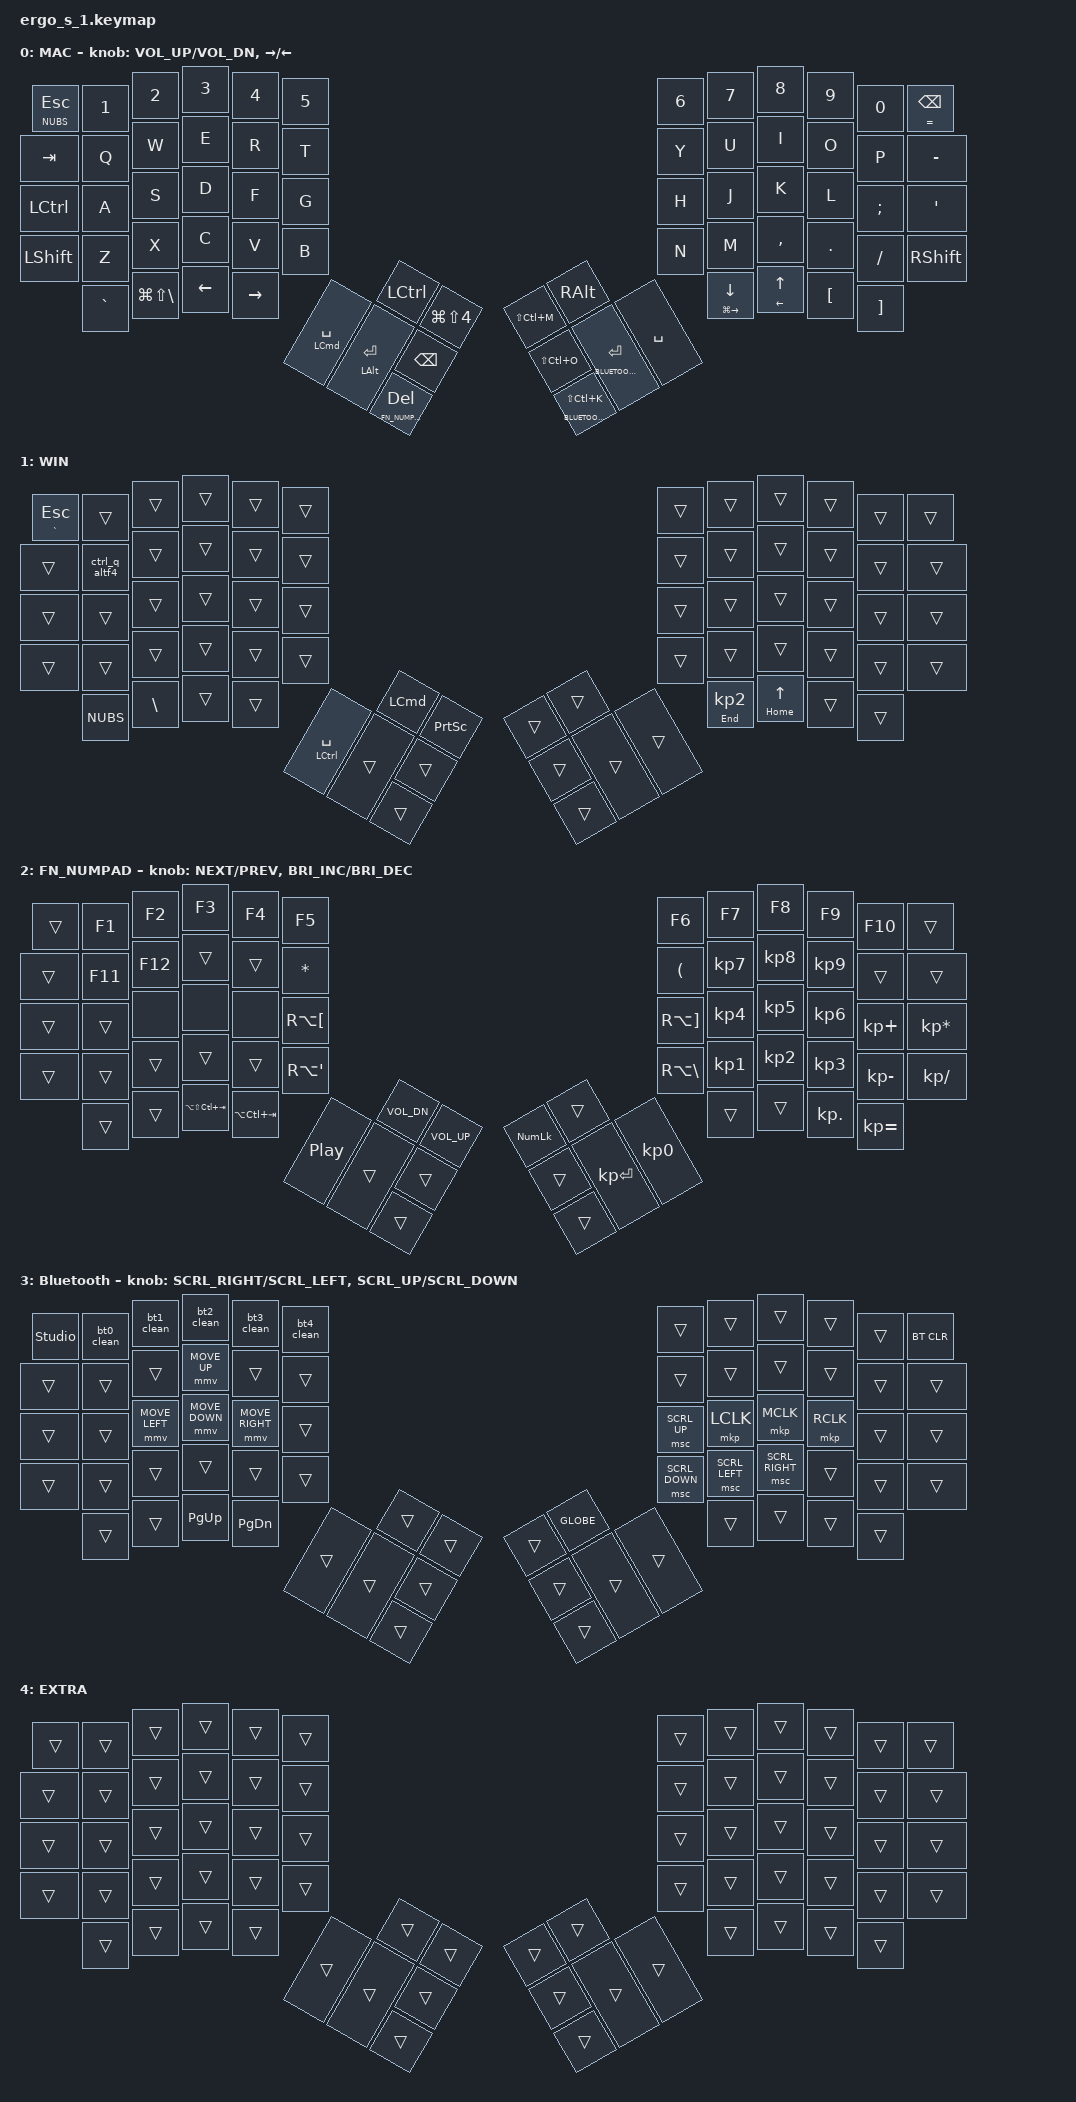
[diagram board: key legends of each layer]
/*
 * Copyright (c) 2021 The ZMK Contributors
 *
 * SPDX-License-Identifier: MIT
 *
 * ERGO S-1 — capas exportadas desde ZMK Studio (2026-09-23) combinadas con
 * combos, behaviors, macros, sensor-bindings y ajustes del keymap del 2026-05-05.
 */

// Velocidades que usa el firmware actual (leídas del teclado): 2000 para mover, 30 para scroll
#define ZMK_POINTING_DEFAULT_MOVE_VAL 2000
#define ZMK_POINTING_DEFAULT_SCRL_VAL 30

#include <behaviors.dtsi>
#include <dt-bindings/zmk/bt.h>
#include <dt-bindings/zmk/keys.h>
#include <dt-bindings/zmk/pointing.h>

#define MAC       0
#define WIN       1
#define FN_NUMPAD 2
#define BLUETOOTH 3
#define EXTRA     4

&mt {
    tapping-term-ms = <200>;
    flavor = "balanced";
    quick-tap-ms = <175>;
};

/ {
    combos {
        compatible = "zmk,combos";

        combo_backspace {
            timeout-ms = <50>;
            key-positions = <31 32>;
            bindings = <&kp BSPC>;
            layers = <MAC WIN>;
        };

        combo_escape {
            timeout-ms = <50>;
            key-positions = <26 27 28>;
            bindings = <&kp ESCAPE>;
            layers = <MAC WIN>;
        };

        combo_mac_app_left {
            bindings = <&kp LC(F4)>;
            key-positions = <40 39>;
            timeout-ms = <50>;
            layers = <MAC>;
        };

        combo_mac_app_right {
            bindings = <&kp LS(LC(F4))>;
            key-positions = <38 39>;
            timeout-ms = <50>;
            layers = <MAC>;
        };

        combo_win_app_left {
            bindings = <&kp LG(LA(LC(TAB)))>;
            key-positions = <40 39>;
            layers = <WIN>;
            timeout-ms = <50>;
        };

        combo_win_app_right {
            bindings = <&kp LS(LG(LA(LC(TAB))))>;
            key-positions = <39 38>;
            layers = <WIN>;
            timeout-ms = <50>;
        };

        combo_toggle_mac_win {
            bindings = <&tog WIN>;
            key-positions = <0 11>;
        };

        combo_tab {
            bindings = <&kp TAB>;
            key-positions = <28 27>;
            layers = <MAC WIN>;
        };

        combo_caps_word {
            bindings = <&kp CAPSLOCK>;
            key-positions = <36 47>;
            layers = <MAC WIN>;
        };
    };

    behaviors {
        inc_dec_msc: inc_dec_msc {
            compatible = "zmk,behavior-sensor-rotate-var";
            #sensor-binding-cells = <2>;
            bindings = <&msc>, <&msc>;

            tap-ms = <20>;
        };

        gresc_mac: grave_escape_mac {
            compatible = "zmk,behavior-mod-morph";
            #binding-cells = <0>;
            bindings = <&kp ESC>, <&kp NON_US_BSLH>;
            mods = <(MOD_LALT)>;
        };

        gresc_win: grave_escape_win {
            compatible = "zmk,behavior-mod-morph";
            #binding-cells = <0>;
            bindings = <&kp ESC>, <&kp GRAVE>;
            mods = <(MOD_LALT)>;
        };

        bspc_del: backspace_delete {
            compatible = "zmk,behavior-mod-morph";
            #binding-cells = <0>;
            bindings = <&kp BACKSPACE>, <&kp DELETE>;

            mods = <(MOD_LSFT|MOD_RSFT)>;
        };

        ctrl_q_altf4: ctrl_q_altf4 {
            compatible = "zmk,behavior-mod-morph";
            #binding-cells = <0>;
            bindings = <&kp Q>, <&kp LA(F4)>;

            mods = <(MOD_LCTL|MOD_RCTL)>;
        };

        sk: sticky_key {
            compatible = "zmk,behavior-sticky-key";
            #binding-cells = <1>;
            quick-release;
        };

    };

    macros {
        // Macro para limpiar conexiones Bluetooth antes de cambiar de perfil
        bt0_clean: bt0_clean {
            compatible = "zmk,behavior-macro";
            #binding-cells = <0>;
            wait-ms = <10>;
            tap-ms = <10>;
            bindings
                = <&bt BT_DISC 0>
                , <&bt BT_DISC 1>
                , <&bt BT_DISC 2>
                , <&bt BT_DISC 3>
                , <&bt BT_DISC 4>
                , <&bt BT_SEL 0>; // Seleccionar perfil 0
        };
        bt1_clean: bt1_clean {
            compatible = "zmk,behavior-macro";
            #binding-cells = <0>;
            wait-ms = <10>;
            tap-ms = <10>;
            bindings
                = <&bt BT_DISC 0>
                , <&bt BT_DISC 1>
                , <&bt BT_DISC 2>
                , <&bt BT_DISC 3>
                , <&bt BT_DISC 4>
                , <&bt BT_SEL 1>; // Seleccionar perfil 1
        };
        bt2_clean: bt2_clean {
            compatible = "zmk,behavior-macro";
            #binding-cells = <0>;
            wait-ms = <10>;
            tap-ms = <10>;
            bindings
                = <&bt BT_DISC 0>
                , <&bt BT_DISC 1>
                , <&bt BT_DISC 2>
                , <&bt BT_DISC 3>
                , <&bt BT_DISC 4>
                , <&bt BT_SEL 2>; // Seleccionar perfil 2
        };
        bt3_clean: bt3_clean {
            compatible = "zmk,behavior-macro";
            #binding-cells = <0>;
            wait-ms = <10>;
            tap-ms = <10>;
            bindings
                = <&bt BT_DISC 0>
                , <&bt BT_DISC 1>
                , <&bt BT_DISC 2>
                , <&bt BT_DISC 3>
                , <&bt BT_DISC 4>
                , <&bt BT_SEL 3>; // Seleccionar perfil 3
        };
        bt4_clean: bt4_clean {
            compatible = "zmk,behavior-macro";
            #binding-cells = <0>;
            wait-ms = <10>;
            tap-ms = <10>;
            bindings
                = <&bt BT_DISC 0>
                , <&bt BT_DISC 1>
                , <&bt BT_DISC 2>
                , <&bt BT_DISC 3>
                , <&bt BT_DISC 4>
                , <&bt BT_SEL 4>; // Seleccionar perfil 4
        };
    };

    keymap {
        compatible = "zmk,keymap";

        mac_layer {
            display-name = "MAC";
            bindings = <
                &mt NUBS ESC       &kp N1                   &kp N2         &kp N3             &kp N4          &kp N5     &kp N6          &kp N7         &kp N8     &kp N9     &kp N0              &mt EQUAL BSPC
                &kp TAB            &kp Q                    &kp W          &kp E              &kp R           &kp T      &kp Y           &kp U          &kp I      &kp O      &kp P               &kp MINUS
                &kp LCTRL          &kp A                    &kp S          &kp D              &kp F           &kp G      &kp H           &kp J          &kp K      &kp L      &kp SEMI            &kp SQT
                &kp LSHFT          &kp Z                    &kp X          &kp C              &kp V           &kp B      &kp N           &kp M          &kp COMMA  &kp DOT    &kp FSLH            &kp RSHFT
                &kp GRAVE          &kp LG(LS(BSLH))         &kp LEFT       &kp RIGHT          &mt LCMD SPACE  &kp LCTRL  &kp LG(LS(N4))  &kp LS(LC(M))  &kp RALT   &kp SPACE  &mt LG(RIGHT) DOWN  &mt LEFT UP     &kp LBKT  &kp RBKT
                &mt LALT RET       &kp BSPC                 &kp LS(LC(O))  &lt BLUETOOTH RET
                &lt FN_NUMPAD DEL  &lt BLUETOOTH LS(LC(K))
            >;

            sensor-bindings =
                <&inc_dec_kp C_VOL_UP C_VOL_DN>,
                <&inc_dec_kp RIGHT_ARROW LEFT_ARROW>;
        };

        win_layer {
            display-name = "WIN";
            bindings = <
                &mt GRAVE ESC  &trans         &trans  &trans  &trans           &trans    &trans     &trans  &trans  &trans  &trans         &trans
                &trans         &ctrl_q_altf4  &trans  &trans  &trans           &trans    &trans     &trans  &trans  &trans  &trans         &trans
                &trans         &trans         &trans  &trans  &trans           &trans    &trans     &trans  &trans  &trans  &trans         &trans
                &trans         &trans         &trans  &trans  &trans           &trans    &trans     &trans  &trans  &trans  &trans         &trans
                &kp NUBS       &kp BSLH       &trans  &trans  &mt LCTRL SPACE  &kp LCMD  &kp PSCRN  &trans  &trans  &trans  &mt END KP_N2  &mt HOME UP  &trans  &trans
                &trans         &trans         &trans  &trans
                &trans         &trans
            >;
        };

        fn_numpad_layer {
            display-name = "FN_NUMPAD";
            bindings = <
                &trans  &kp F1   &kp F2               &kp F3           &kp F4    &kp F5        &kp F6        &kp F7      &kp F8     &kp F9     &kp F10       &trans
                &trans  &kp F11  &kp F12              &trans           &trans    &kp STAR      &kp LPAR      &kp KP_N7   &kp KP_N8  &kp KP_N9  &trans        &trans
                &trans  &trans   &none                &none            &none     &kp RA(LBKT)  &kp RA(RBKT)  &kp KP_N4   &kp KP_N5  &kp KP_N6  &kp KP_PLUS   &kp KP_ASTERISK
                &trans  &trans   &trans               &trans           &trans    &kp RA(SQT)   &kp RA(BSLH)  &kp KP_N1   &kp KP_N2  &kp KP_N3  &kp KP_MINUS  &kp KP_SLASH
                &trans  &trans   &kp LA(LS(LC(TAB)))  &kp LA(LC(TAB))  &kp C_PP  &kp C_VOL_DN  &kp C_VOL_UP  &kp KP_NUM  &trans     &kp KP_N0  &trans        &trans           &kp KP_DOT  &kp KP_EQUAL
                &trans  &trans   &trans               &kp KP_ENTER
                &trans  &trans
            >;

            sensor-bindings =
                <&inc_dec_kp C_NEXT C_PREV>,
                <&inc_dec_kp C_BRIGHTNESS_INC C_BRIGHTNESS_DEC>;
        };

        bluetooth_layer {
            display-name = "Bluetooth";
            bindings = <
                &studio_unlock  &bt0_clean  &bt1_clean      &bt2_clean      &bt3_clean       &bt4_clean  &trans          &trans          &trans           &trans     &trans  &bt BT_CLR
                &trans          &trans      &trans          &mmv MOVE_UP    &trans           &trans      &trans          &trans          &trans           &trans     &trans  &trans
                &trans          &trans      &mmv MOVE_LEFT  &mmv MOVE_DOWN  &mmv MOVE_RIGHT  &trans      &msc SCRL_UP    &mkp LCLK       &mkp MCLK        &mkp RCLK  &trans  &trans
                &trans          &trans      &trans          &trans          &trans           &trans      &msc SCRL_DOWN  &msc SCRL_LEFT  &msc SCRL_RIGHT  &trans     &trans  &trans
                &trans          &trans      &kp PG_UP       &kp PG_DN       &trans           &trans      &trans          &trans          &kp GLOBE        &trans     &trans  &trans      &trans  &trans
                &trans          &trans      &trans          &trans
                &trans          &trans
            >;

            sensor-bindings =
                <&inc_dec_msc SCRL_RIGHT SCRL_LEFT>,
                <&inc_dec_msc SCRL_UP SCRL_DOWN>;
        };

        extra_layer {
            display-name = "EXTRA";
            bindings = <
                &trans  &trans  &trans  &trans  &trans  &trans  &trans  &trans  &trans  &trans  &trans  &trans
                &trans  &trans  &trans  &trans  &trans  &trans  &trans  &trans  &trans  &trans  &trans  &trans
                &trans  &trans  &trans  &trans  &trans  &trans  &trans  &trans  &trans  &trans  &trans  &trans
                &trans  &trans  &trans  &trans  &trans  &trans  &trans  &trans  &trans  &trans  &trans  &trans
                &trans  &trans  &trans  &trans  &trans  &trans  &trans  &trans  &trans  &trans  &trans  &trans  &trans  &trans
                &trans  &trans  &trans  &trans
                &trans  &trans
            >;
        };
    };
};
